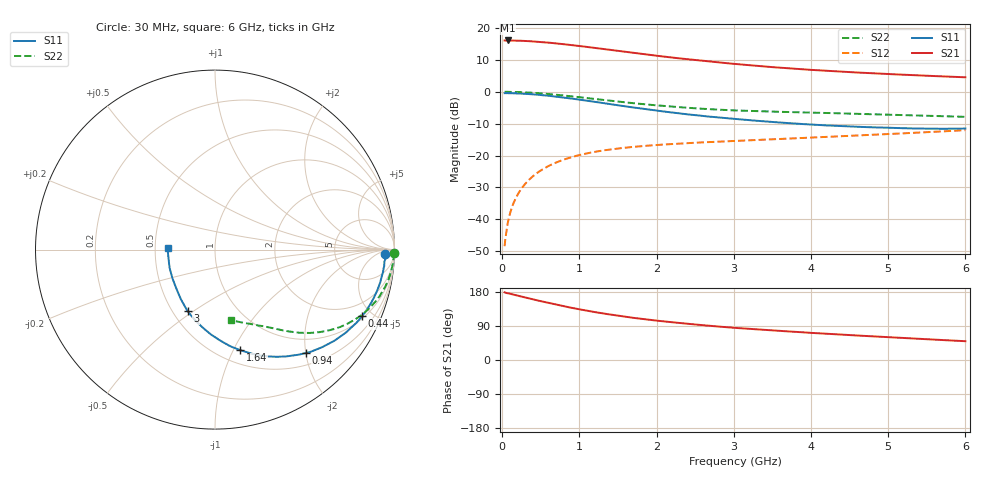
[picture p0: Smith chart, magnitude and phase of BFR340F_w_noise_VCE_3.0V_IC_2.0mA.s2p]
! Infineon Technologies  Discrete & RF Semiconductors
! BFR340F
! VCE =  3.0 V,  IC =  2.0 mA
! Common Emitter S-Parameters:  Nov 2015
# GHz  S  MA  R  50
!  f  S11  S21  S12  S22
! GHz  MAG  ANG  MAG  ANG  MAG  ANG  MAG  ANG
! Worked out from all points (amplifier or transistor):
!   206 points, 30 MHz to 6 GHz, reference 50 ohm
!   highest |S21| = 16.0 dB at 70 MHz (marker M1)
!   |S21| within 3 dB of that: start of sweep to 1.412 GHz
!   unconditionally stable (mu >= 1): 4.725 GHz to end of sweep
!   at 200 MHz: K = 0.06, MSG = 24.1 dB, |S12| = -32.2 dB
!   at 1.56 GHz: K = 0.49, MSG = 15.1 dB, |S12| = -17.6 dB
!   at 6 GHz: K = 1.03, MAG = 7.2 dB, |S12| = -12.1 dB
!   lowest NFmin = 1.06 dB at 1.9 GHz
!   S11 on the Smith chart (normalised r, x): 30 MHz: 29, -15; 440 MHz: 1.12, -4.37; 940 MHz: 0.72, -2.01; 1.64 GHz: 0.63, -1.07; 3 GHz: 0.59, -0.47; 6 GHz: 0.58, +0.01
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0.03  0.9473 -1.6  6.336 178.6  0.0038 88.2  0.9965 -1.1
0.05  0.9446 -2.6  6.288 176.8  0.0061 89.4  0.9962 -1.8
0.07  0.9456 -4.1  6.343 176.0  0.0087 88.1  0.9962 -2.6
0.08  0.9468 -4.6  6.319 175.9  0.01 87.1  0.996 -3.0
0.13  0.9446 -7.4  6.313 173.5  0.0161 85.6  0.9932 -4.8
0.2  0.9383 -11.3  6.298 169.8  0.0245 83.2  0.9876 -7.4
0.32  0.9218 -17.9  6.207 163.8  0.0387 79.2  0.9729 -11.7
0.44  0.8999 -24.3  6.074 158.0  0.0521 75.5  0.9531 -15.8
0.6  0.8628 -32.5  5.864 150.4  0.0686 70.7  0.9195 -20.9
0.7  0.8359 -37.5  5.713 145.9  0.078 68.0  0.896 -23.9
0.94  0.7673 -48.6  5.301 136.1  0.0974 62.2  0.8344 -30.3
1.04  0.7379 -52.9  5.125 132.3  0.1044 60.1  0.8089 -32.7
1.3  0.6655 -63.5  4.676 123.1  0.1196 55.5  0.7445 -38.1
1.64  0.5782 -75.8  4.138 112.8  0.1344 51.2  0.6708 -43.7
2.02  0.5016 -87.7  3.631 103.5  0.1466 48.1  0.6078 -48.4
2.42  0.4389 -99.1  3.203 95.1  0.1568 46.3  0.5572 -52.4
3  0.3757 -114.0  2.728 85.0  0.1693 45.4  0.5089 -57.2
3.1  0.3666 -115.9  2.664 83.7  0.1714 45.4  0.5044 -57.8
3.5  0.3351 -124.7  2.423 77.9  0.1797 45.6  0.4868 -60.3
4.1  0.3007 -137.1  2.16 70.5  0.1932 46.6  0.4673 -63.1
5.1  0.2698 -160.7  1.866 59.0  0.2197 48.4  0.4321 -70.0
6  0.2643 177.9  1.68 49.6  0.2493 49.7  0.4036 -77.2
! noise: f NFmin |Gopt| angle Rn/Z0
1.9  1.06  0.56  14  0.51
